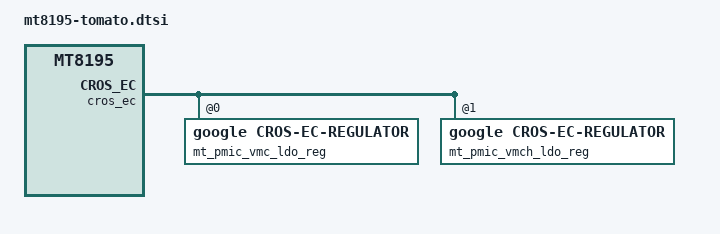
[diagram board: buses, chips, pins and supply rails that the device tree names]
// SPDX-License-Identifier: (GPL-2.0 OR MIT)
/*
 * Copyright (C) 2021 MediaTek Inc.
 */

&cros_ec {
	mt_pmic_vmc_ldo_reg: regulator@0 {
		compatible = "google,cros-ec-regulator";
		regulator-min-microvolt = <1200000>;
		regulator-max-microvolt = <3600000>;
		reg = <0>;
	};
	mt_pmic_vmch_ldo_reg: regulator@1 {
		compatible = "google,cros-ec-regulator";
		regulator-min-microvolt = <2700000>;
		regulator-max-microvolt = <3600000>;
		reg = <1>;
	};
};

&keyboard_controller {
	function-row-physmap = <
		MATRIX_KEY(0x00, 0x02, 0)	/* T1 */
		MATRIX_KEY(0x03, 0x02, 0)	/* T2 */
		MATRIX_KEY(0x02, 0x02, 0)	/* T3 */
		MATRIX_KEY(0x01, 0x02, 0)	/* T4 */
		MATRIX_KEY(0x03, 0x04, 0)	/* T5 */
		MATRIX_KEY(0x02, 0x04, 0)	/* T6 */
		MATRIX_KEY(0x01, 0x04, 0)	/* T7 */
		MATRIX_KEY(0x02, 0x09, 0)	/* T8 */
		MATRIX_KEY(0x01, 0x09, 0)	/* T9 */
		MATRIX_KEY(0x00, 0x04, 0)	/* T10 */
	>;
	linux,keymap = <
		MATRIX_KEY(0x00, 0x02, KEY_BACK)
		MATRIX_KEY(0x03, 0x02, KEY_REFRESH)
		MATRIX_KEY(0x02, 0x02, KEY_ZOOM)
		MATRIX_KEY(0x01, 0x02, KEY_SCALE)
		MATRIX_KEY(0x03, 0x04, KEY_SYSRQ)
		MATRIX_KEY(0x02, 0x04, KEY_BRIGHTNESSDOWN)
		MATRIX_KEY(0x01, 0x04, KEY_BRIGHTNESSUP)
		MATRIX_KEY(0x02, 0x09, KEY_MUTE)
		MATRIX_KEY(0x01, 0x09, KEY_VOLUMEDOWN)
		MATRIX_KEY(0x00, 0x04, KEY_VOLUMEUP)

		CROS_STD_MAIN_KEYMAP
	>;
};
